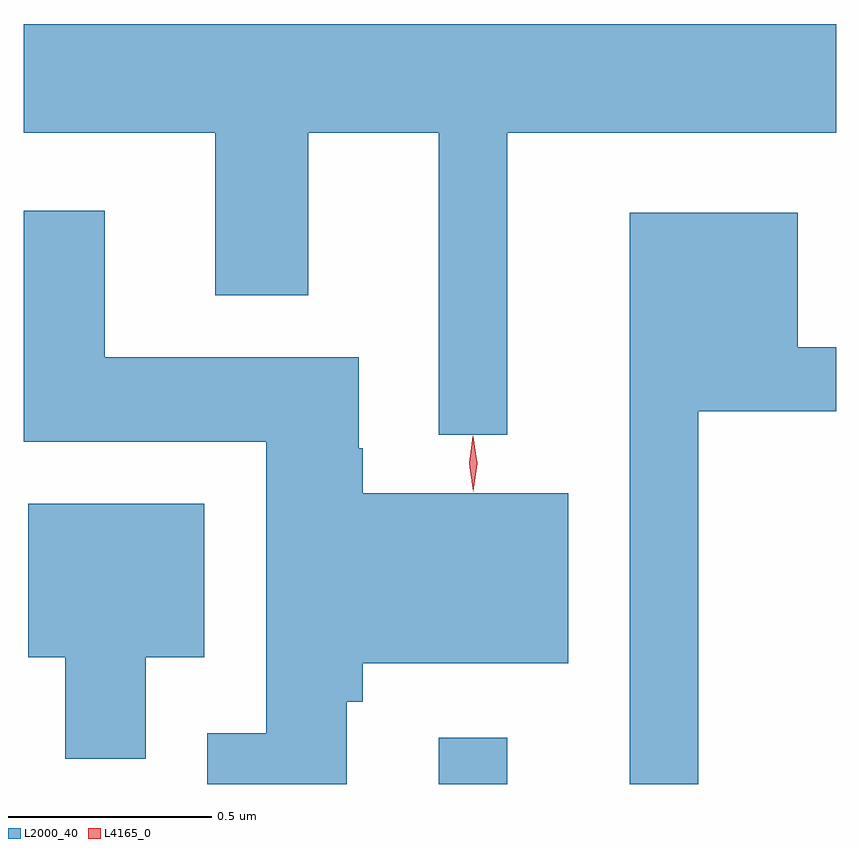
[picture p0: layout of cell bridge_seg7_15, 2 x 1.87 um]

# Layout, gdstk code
import gdstk
lib = gdstk.Library(unit=1e-6, precision=1e-09)
def R(c, l, rs):  # rectangles x0, y0, x1, y1
    for r in rs: c.add(gdstk.rectangle(r[:2], r[2:], *l))
def P(c, l, *ps):  # polygons
    for p in ps: c.add(gdstk.Polygon(p, *l))
L2000_40 = (2000, 40)
L4165_0 = (4165, 0)

bridge_seg7_15 = lib.new_cell('bridge_seg7_15')
R(bridge_seg7_15, L2000_40, [(1677.221,1739.354,1677.389,1739.468)])
P(bridge_seg7_15, L2000_40, [(1677.389,1740.956),(1678.199,1740.956),(1678.199,1741.224),(1676.199,1741.224),(1676.199,1740.956),(1676.671,1740.956),(1676.671,1740.556),(1676.899,1740.556),(1676.899,1740.956),(1677.221,1740.956),(1677.221,1740.213),(1677.389,1740.213)],
  [(1676.994,1739.556),(1677.034,1739.556),(1677.034,1739.651),(1677.539,1739.651),(1677.539,1740.069),(1677.034,1740.069),(1677.034,1740.18),(1677.024,1740.18),(1677.024,1740.404),(1676.399,1740.404),(1676.399,1740.764),(1676.199,1740.764),(1676.199,1740.196),(1676.796,1740.196),(1676.796,1739.479),(1676.651,1739.479),(1676.651,1739.354),(1676.994,1739.354)],
  [(1677.859,1740.271),(1678.199,1740.271),(1678.199,1740.429),(1678.104,1740.429),(1678.104,1740.759),(1677.691,1740.759),(1677.691,1739.354),(1677.859,1739.354)],
  [(1676.499,1739.666),(1676.644,1739.666),(1676.644,1740.044),(1676.211,1740.044),(1676.211,1739.666),(1676.301,1739.666),(1676.301,1739.416),(1676.499,1739.416)])
P(bridge_seg7_15, L4165_0, [(1677.306,1740.073),(1677.305,1740.074),(1677.295,1740.142),(1677.304,1740.21),(1677.305,1740.21),(1677.305,1740.21),(1677.315,1740.142),(1677.306,1740.074)],
  [(1677.304,1740.082),(1677.295,1740.144),(1677.304,1740.206),(1677.305,1740.207),(1677.305,1740.206),(1677.315,1740.144),(1677.305,1740.082),(1677.305,1740.082)])

lib.write_gds('bridge_seg7_15.gds')
